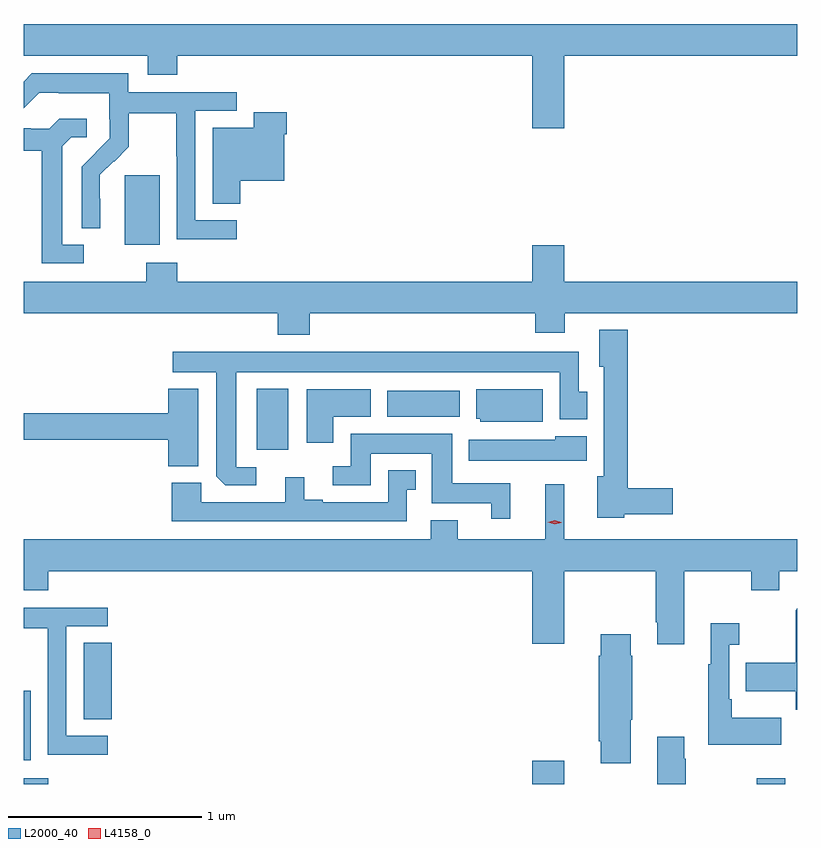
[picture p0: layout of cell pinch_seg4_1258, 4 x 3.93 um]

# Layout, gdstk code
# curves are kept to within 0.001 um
import gdstk
lib = gdstk.Library(unit=1e-6, precision=1e-09)
def R(c, l, rs):  # rectangles x0, y0, x1, y1
    for r in rs: c.add(gdstk.rectangle(r[:2], r[2:], *l))
def P(c, l, *ps):  # polygons
    for p in ps: c.add(gdstk.Polygon(p, *l))
L2000_40 = (2000, 40)
L4158_0 = (4158, 0)

pinch_seg4_1258 = lib.new_cell('pinch_seg4_1258')
R(pinch_seg4_1258, L2000_40, [(318.222,771.744,318.35,771.775), (320.852,771.744,321.016,771.865), (322.012,771.744,322.158,771.775), (318.222,771.866,318.259,772.227), (318.533,772.078,318.677,772.475), (319.427,773.472,319.591,773.788), (320.102,773.642,320.476,773.776), (318.746,774.53,318.925,774.891)])
P(pinch_seg4_1258, L2000_40, [(321.016,775.508),(322.222,775.508),(322.222,775.672),(318.222,775.672),(318.222,775.508),(318.863,775.508),(318.863,775.409),(319.016,775.409),(319.016,775.508),(320.852,775.508),(320.852,775.134),(321.016,775.134)],
  [(319.324,774.657),(319.11,774.657),(319.11,775.224),(319.324,775.224),(319.324,775.32),(318.762,775.32),(318.762,775.417),(318.265,775.417),(318.222,775.374),(318.222,775.236),(318.303,775.317),(318.403,775.317),(318.403,775.313),(318.666,775.313),(318.666,775.179),(318.668,775.179),(318.668,775.082),(318.522,774.934),(318.522,774.616),(318.618,774.616),(318.617,774.893),(318.687,774.963),(318.69,774.96),(318.767,775.037),(318.767,775.212),(319.012,775.212),(319.012,774.988),(319.014,774.988),(319.014,774.559),(319.324,774.559)],
  [(319.343,774.863),(319.57,774.863),(319.57,775.103),(319.583,775.103),(319.583,775.216),(319.412,775.216),(319.412,775.135),(319.199,775.135),(319.199,774.742),(319.343,774.742)],
  [(318.532,774.531),(318.421,774.531),(318.421,775.039),(318.468,775.086),(318.55,775.086),(318.55,775.183),(318.406,775.183),(318.354,775.131),(318.26,775.131),(318.26,775.134),(318.222,775.134),(318.222,775.016),(318.317,775.016),(318.317,774.435),(318.532,774.435)],
  [(319.7,774.176),(320.867,774.176),(320.867,774.077),(321.019,774.077),(321.019,774.176),(322.222,774.176),(322.222,774.34),(321.016,774.34),(321.016,774.529),(320.852,774.529),(320.852,774.34),(319.016,774.34),(319.016,774.439),(318.856,774.439),(318.856,774.34),(318.222,774.34),(318.222,774.176),(319.535,774.176),(319.535,774.065),(319.7,774.065)],
  [(321.327,773.138),(321.577,773.138),(321.577,773.273),(321.344,773.273),(321.344,774.091),(321.197,774.091),(321.197,773.901),(321.221,773.901),(321.221,773.334),(321.188,773.334),(321.188,773.12),(321.327,773.12)],
  [(319.426,773.382),(319.321,773.382),(319.321,773.873),(320.994,773.873),(320.994,773.628),(321.136,773.628),(321.136,773.772),(321.091,773.772),(321.091,773.977),(318.993,773.977),(318.993,773.873),(319.217,773.873),(319.218,773.335),(319.264,773.289),(319.426,773.289)],
  [(319.126,773.788),(318.971,773.788),(318.971,773.66),(318.222,773.66),(318.222,773.524),(318.971,773.524),(318.971,773.387),(319.126,773.387)],
  [(319.822,773.642),(320.017,773.642),(320.017,773.785),(319.685,773.785),(319.685,773.508),(319.822,773.508)],
  [(320.905,773.785),(320.561,773.785),(320.561,773.631),(320.583,773.631),(320.583,773.615),(320.905,773.615)],
  [(320.738,773.299),(320.437,773.299),(320.437,773.554),(319.913,773.554),(319.913,773.385),(319.821,773.385),(319.821,773.289),(320.017,773.289),(320.017,773.45),(320.333,773.45),(320.333,773.195),(320.639,773.195),(320.639,773.115),(320.738,773.115)],
  [(321.133,773.542),(320.97,773.542),(320.97,773.524),(320.522,773.524),(320.522,773.414),(321.133,773.414)],
  [(320.202,773.265),(320.248,773.265),(320.248,773.365),(320.106,773.365),(320.106,773.199),(319.768,773.199),(319.768,773.212),(319.672,773.212),(319.672,773.329),(319.574,773.329),(319.574,773.199),(319.14,773.199),(319.14,773.302),(318.989,773.302),(318.989,773.103),(320.202,773.103)],
  [(321.637,772.844),(321.982,772.844),(321.982,772.745),(322.129,772.745),(322.129,772.844),(322.222,772.844),(322.222,773.008),(321.016,773.008),(321.016,773.293),(320.918,773.293),(320.918,773.008),(320.467,773.008),(320.467,773.107),(320.327,773.107),(320.327,773.008),(318.222,773.008),(318.222,772.745),(318.35,772.745),(318.35,772.844),(320.852,772.844),(320.852,772.47),(321.016,772.47),(321.016,772.844),(321.49,772.844),(321.49,772.579),(321.497,772.579),(321.497,772.467),(321.637,772.467)],
  [(318.658,771.993),(318.444,771.993),(318.444,772.56),(318.658,772.56),(318.658,772.656),(318.222,772.656),(318.222,772.548),(318.346,772.548),(318.346,772.324),(318.348,772.324),(318.348,771.895),(318.658,771.895)],
  [(322.222,772.653),(322.212,772.643),(322.212,772.371),(321.955,772.371),(321.955,772.223),(322.212,772.223),(322.212,772.127),(322.222,772.127)],
  [(322.139,772.087),(321.883,772.087),(321.883,772.183),(321.87,772.183),(321.87,772.463),(321.922,772.463),(321.922,772.576),(321.773,772.576),(321.773,772.363),(321.762,772.363),(321.762,771.947),(322.139,771.947)],
  [(321.361,772.075),(321.369,772.075),(321.369,772.406),(321.361,772.406),(321.361,772.519),(321.206,772.519),(321.206,772.406),(321.194,772.406),(321.194,771.964),(321.206,771.964),(321.206,771.852),(321.361,771.852)],
  [(321.645,771.875),(321.637,771.875),(321.637,771.988),(321.497,771.988),(321.497,771.744),(321.645,771.744)])
P(pinch_seg4_1258, L4158_0, [(320.967,773.086),(320.932,773.097),(320.931,773.097),(320.932,773.097),(320.967,773.106),(321.002,773.096),(321.002,773.095),(321.002,773.095)])

lib.write_gds('pinch_seg4_1258.gds')
